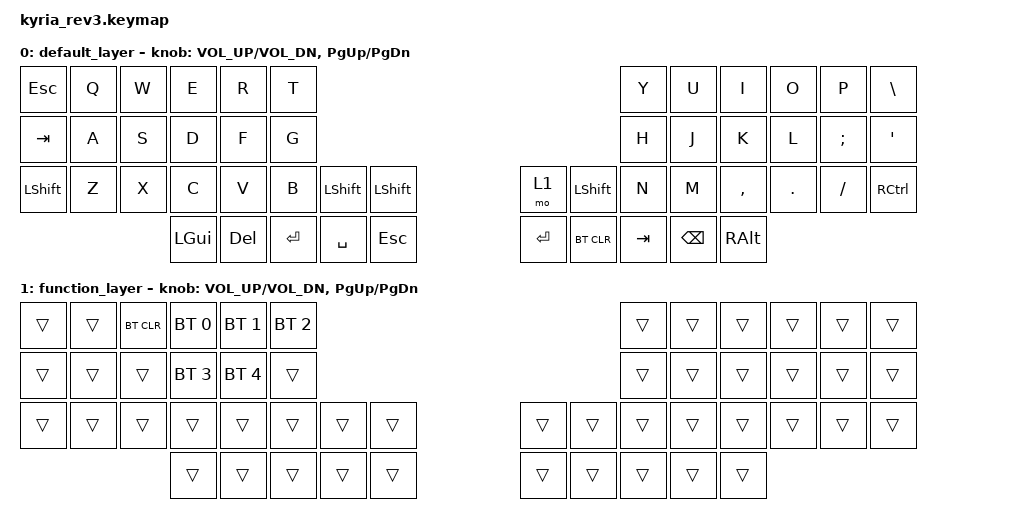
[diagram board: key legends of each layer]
/*
 * Copyright (c) 2023 The ZMK Contributors
 *
 * SPDX-License-Identifier: MIT
 */

#include <behaviors.dtsi>
#include <dt-bindings/zmk/bt.h>
#include <dt-bindings/zmk/keys.h>

/* Uncomment this block if using RGB
&led_strip {
    chain-length = <6>;
    // chain-length = <31>; // Uncomment if using both per-key and underglow LEDs
    // chain-length = <25>; // Uncomment if using only per-key LEDs.
};
 */
&kscan0 {
    row-gpios
    = <&pro_micro 19 (GPIO_ACTIVE_HIGH | GPIO_PULL_DOWN)>
    , <&pro_micro 18 (GPIO_ACTIVE_HIGH | GPIO_PULL_DOWN)>
    , <&pro_micro 15 (GPIO_ACTIVE_HIGH | GPIO_PULL_DOWN)>
    , <&pro_micro 14 (GPIO_ACTIVE_HIGH | GPIO_PULL_DOWN)>
    ;
    col-gpios
    = <&pro_micro 16 GPIO_ACTIVE_HIGH>
    , <&pro_micro 4  GPIO_ACTIVE_HIGH>
    , <&pro_micro 5  GPIO_ACTIVE_HIGH>
    , <&gpio1 7 GPIO_ACTIVE_HIGH>
    , <&pro_micro 7  GPIO_ACTIVE_HIGH>
    , <&pro_micro 8  GPIO_ACTIVE_HIGH>
    , <&pro_micro 10 GPIO_ACTIVE_HIGH>
    ;
};
/ {
    keymap {
        compatible = "zmk,keymap";

        default_layer {
            // ---------------------------------------------------------------------------------------------------------------------------------
            // |  ESC  |  Q  |  W  |  E   |  R   |  T   |                                          |  Y   |  U    |  I    |  O   |   P   |   \  |
            // |  TAB  |  A  |  S  |  D   |  F   |  G   |                                          |  H   |  J    |  K    |  L   |   ;   |   '  |
            // | SHIFT |  Z  |  X  |  C   |  V   |  B   | L SHIFT | L SHIFT |  | LAYER 1 | L SHIFT |  N   |  M    |  ,    |  .   |   /   | CTRL |
            //                     | GUI  | DEL  | RET  |  SPACE  |   ESC   |  |   RET   |  BT_CLEAR  | TAB  | BSPC  | R-ALT |
            bindings = <
            &kp ESC   &kp Q &kp W &kp E &kp R &kp T                                                  &kp Y &kp U  &kp I     &kp O   &kp P    &kp BSLH
            &kp TAB   &kp A &kp S &kp D &kp F &kp G                                                  &kp H &kp J  &kp K     &kp L   &kp SEMI &kp SQT
            &kp LSHFT &kp Z &kp X &kp C &kp V &kp B &kp LSHFT &kp LSHFT            &mo 1   &kp LSHFT &kp N &kp M  &kp COMMA &kp DOT &kp FSLH &kp RCTRL
                                  &kp LGUI &kp DEL &kp RET &kp SPACE &kp ESC       &kp RET &bt BT_CLR &kp TAB &kp BSPC &kp RALT
            >;

            sensor-bindings = <&inc_dec_kp C_VOL_UP C_VOL_DN &inc_dec_kp PG_UP PG_DN>;
        };
        function_layer {
            // ---------------------------------------------------------------------------------------------------------------------------------
            // |       |      |BT_CLR|BTSEL0|BTSEL1|BTSEL2|                                         |      |      |      |      |      |      |
            // |       |      |      |BTSEL3|BTSEL4|      |                                         |      |      |      |      |      |      |
            // |       |      |      |      |      |      |      |      |      |      |      |      |      |      |      |      |      |      |
            //                       |      |      |      |      |      |      |      |      |      |      |      |      |
            bindings = <
            &trans &trans &bt BT_CLR &bt BT_SEL 0 &bt BT_SEL 1 &bt BT_SEL 2              &trans &trans &trans &trans &trans &trans
            &trans &trans &trans     &bt BT_SEL 3 &bt BT_SEL 4 &trans                    &trans &trans &trans &trans &trans &trans
            &trans &trans &trans &trans &trans &trans &trans &trans        &trans &trans &trans &trans &trans &trans &trans &trans
                                 &trans &trans &trans &trans &trans        &trans &trans &trans &trans &trans
            >;

            sensor-bindings = <&inc_dec_kp C_VOL_UP C_VOL_DN &inc_dec_kp PG_UP PG_DN>;
        };
    };
};
